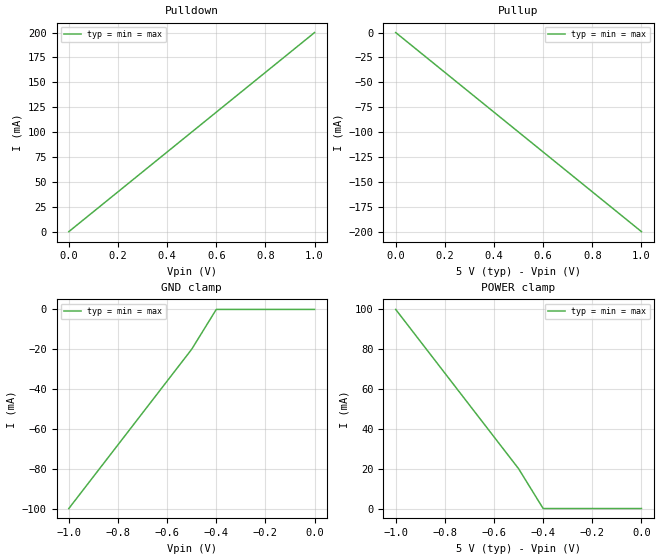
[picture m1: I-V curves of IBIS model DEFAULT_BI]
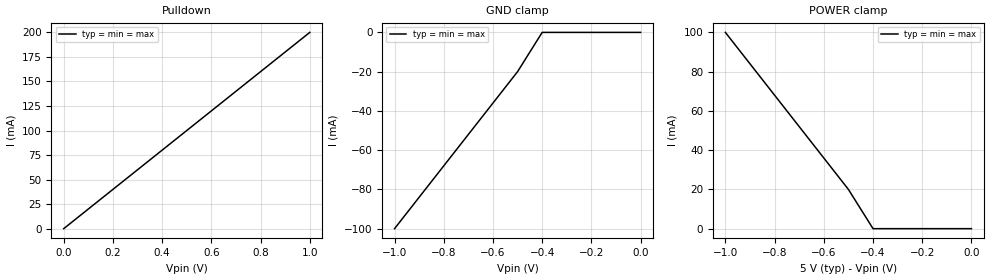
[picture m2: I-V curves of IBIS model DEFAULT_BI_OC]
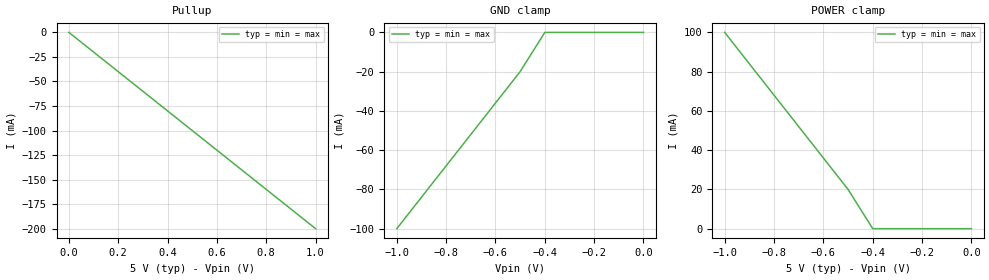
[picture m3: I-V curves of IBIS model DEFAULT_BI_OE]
[Ibis Ver]	3.2
[File Name]	tech_default.ibs
[File Rev]	0.5
[Date]	Sun Jan  5 18:26:27 2020
[Notes]	This file is automatically generated and may not fully comply
   with some of the name length and numerical size restrictions in the
   IBIS Specification.  These length and size violations can be
   detected with the IBIS Open Forum ibischk3 utility, and the
   violations may need to be corrected before the file can be
   used outide of the ICX environment.
[Component]	tech_default
[Manufacturer] 	Mentor Graphics ICX-Pro
[Package]
|		typ		min		max
R_pkg		0.0		0.0		0.0
L_pkg		3.000000nH		NA		NA
C_pkg		2.000000pF		NA		NA
[Pin]	signal_name	model_name	R_pin	L_pin	C_pin
i	Input		DEFAULT_IN
o	Output		DEFAULT_OUT
tri	Tri-state		DEFAULT_TRI
oc	Open-drain		DEFAULT_OC
oe	Open-source		DEFAULT_OE
bi	Bidirectional		DEFAULT_BI
bi_oc	Bi_Open_Drain		DEFAULT_BI_OC
bi_oe	Bi_Open_Source		DEFAULT_BI_OE
| Models and submodels in the file (8): DEFAULT_BI (I/O), DEFAULT_BI_OC (I/O_open_drain), DEFAULT_BI_OE (I/O_open_source), DEFAULT_IN (Input), DEFAULT_OC (Open_drain), DEFAULT_OE (Open_source), DEFAULT_OUT (Output), DEFAULT_TRI (3-state)
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[Model]		DEFAULT_BI
Model_type	I/O
Polarity	Non-Inverting
Enable		Active-High
Vmeas = 2.500000V
Cref = 50.000000pF
Vref = 0.0V
Rref = 0.500000k
Vinl = 1.500000V
Vinh = 3.500000V
|		typ		min		max
C_comp		5.500000pF		2.000000pF		8.000000pF
|			typ		min		max
[voltage range]	5.000000V		4.500000V		5.500000V
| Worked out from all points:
|   slope of the pulldown table from 0 to 0.75 V, typ, clamps not added: 5 ohm
|   slope of the pullup table from 0 to 0.75 V, typ, clamps not added: 5 ohm
|   GND clamp passes 1 mA (typ) near -0.41 V on its own axis
|   POWER clamp passes 1 mA (typ) near -0.41 V on its own axis
[Pulldown]
|	Voltage		I(typ)		I(min)		I(max)
0V        0A         0A         0A
1V        200mA      200mA      200mA
[Pullup]
|	Voltage		I(typ)		I(min)		I(max)
0V        0A         0A         0A
1V        -200mA     -200mA     -200mA
[Gnd Clamp]
|	Voltage		I(typ)		I(min)		I(max)
-1V       -100mA     -100mA     -100mA
-500mV    -20mA      -20mA      -20mA
-400mV    0A         0A         0A
0V        0A         0A         0A
[Power Clamp]
|	Voltage		I(typ)		I(min)		I(max)
-1V       100mA      100mA      100mA
-500mV    20mA       20mA       20mA
-400mV    0A         0A         0A
0V        0A         0A         0A
[Ramp]
|  variable	typ		min		max
dV/dt_r		5/0.100000ns	5/0.100000ns	5/0.100000ns
dV/dt_f		5/0.100000ns	5/0.100000ns	5/0.100000ns
R_load = 	50Ohms
[Model]		DEFAULT_BI_OC
Model_type	I/O_open_drain
Polarity	Non-Inverting
Enable		Active-High
Vmeas = 2.500000V
Cref = 50.000000pF
Vref = 5.000000V
Rref = 0.250000k
Vinl = 1.500000V
Vinh = 3.500000V
|		typ		min		max
C_comp		5.500000pF		2.000000pF		8.000000pF
|			typ		min		max
[voltage range]	5.000000V		4.500000V		5.500000V
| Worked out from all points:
|   slope of the pulldown table from 0 to 0.75 V, typ, clamps not added: 5 ohm
|   GND clamp passes 1 mA (typ) near -0.41 V on its own axis
|   POWER clamp passes 1 mA (typ) near -0.41 V on its own axis
[Pulldown]
|	Voltage		I(typ)		I(min)		I(max)
0V        0A         0A         0A
1V        200mA      200mA      200mA
[Gnd Clamp]
|	Voltage		I(typ)		I(min)		I(max)
-1V       -100mA     -100mA     -100mA
-500mV    -20mA      -20mA      -20mA
-400mV    0A         0A         0A
0V        0A         0A         0A
[Power Clamp]
|	Voltage		I(typ)		I(min)		I(max)
-1V       100mA      100mA      100mA
-500mV    20mA       20mA       20mA
-400mV    0A         0A         0A
0V        0A         0A         0A
[Ramp]
|  variable	typ		min		max
dV/dt_r		5/0.100000ns	5/0.100000ns	5/0.100000ns
dV/dt_f		5/0.100000ns	5/0.100000ns	5/0.100000ns
R_load = 	50Ohms
[Model]		DEFAULT_BI_OE
Model_type	I/O_open_source
Polarity	Non-Inverting
Enable		Active-High
Vmeas = 2.500000V
Cref = 50.000000pF
Vref = 0.0V
Rref = 0.250000k
Vinl = 1.500000V
Vinh = 3.500000V
|		typ		min		max
C_comp		5.500000pF		2.000000pF		8.000000pF
|			typ		min		max
[voltage range]	5.000000V		4.500000V		5.500000V
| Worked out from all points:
|   slope of the pullup table from 0 to 0.75 V, typ, clamps not added: 5 ohm
|   GND clamp passes 1 mA (typ) near -0.41 V on its own axis
|   POWER clamp passes 1 mA (typ) near -0.41 V on its own axis
[Pullup]
|	Voltage		I(typ)		I(min)		I(max)
0V        0A         0A         0A
1V        -200mA     -200mA     -200mA
[Gnd Clamp]
|	Voltage		I(typ)		I(min)		I(max)
-1V       -100mA     -100mA     -100mA
-500mV    -20mA      -20mA      -20mA
-400mV    0A         0A         0A
0V        0A         0A         0A
[Power Clamp]
|	Voltage		I(typ)		I(min)		I(max)
-1V       100mA      100mA      100mA
-500mV    20mA       20mA       20mA
-400mV    0A         0A         0A
0V        0A         0A         0A
[Ramp]
|  variable	typ		min		max
dV/dt_r		5/0.100000ns	5/0.100000ns	5/0.100000ns
dV/dt_f		5/0.100000ns	5/0.100000ns	5/0.100000ns
R_load = 	50Ohms
